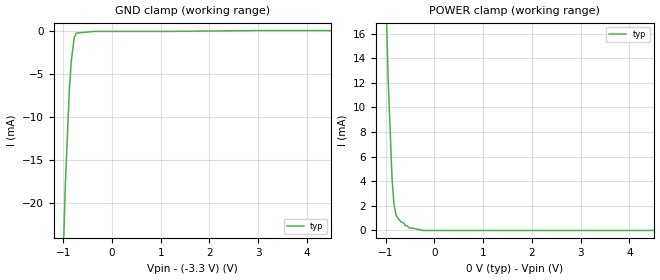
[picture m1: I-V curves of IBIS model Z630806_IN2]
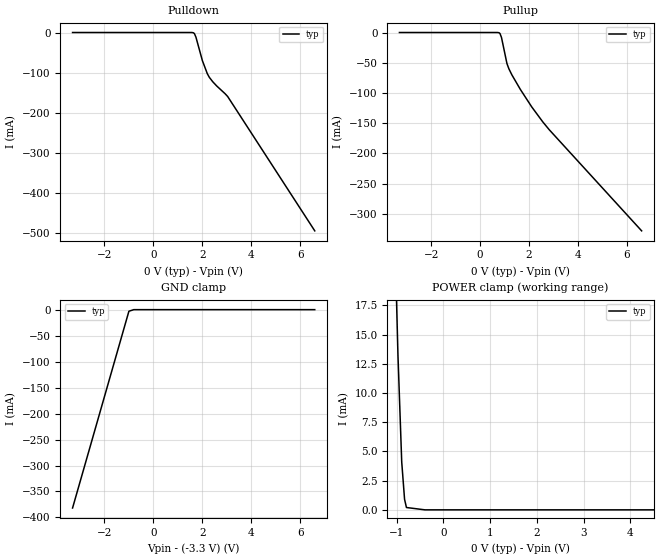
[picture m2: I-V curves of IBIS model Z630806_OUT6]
| YOU ARE ONLY AUTHORIZED TO USE THIS SOFTWARE
| ACCORDING TO LICENSOR'S LICENSE RESTRICTIONS.
[IBIS Ver] 3.1
[File Name] mc10ep05d_-33.ibs
[File Rev] 1
[Source] Derived from mc10ep16d_-33.ibs Measured
|   and created by ICX Technology
[Date] 9/25/2002
[Copyright]
| (C) COPYRIGHT 1993-2000
| MENTOR GRAPHICS CORPORATION
| ICX STANDARD LIBRARY, ICX PROJECT MODELING,
| ICX CUSTOM MODELING, ICX VENDOR MODEL
| ALL RIGHTS RESERVED.
| THE FOLLOWING ARE TRADEMARKS OR SERVICE MARKS OF
| MENTOR GRAPHICS CORPORATION:ICX (R), ICX STANDARD
| LIBRARY(R), ICX PROJECT MODELING(R), ICX CUSTOM
| MODELING(R), qualityIBIS(TM), MODELVIEWER(TM),
| AND MODELEDITOR(TM)
| ALL COPIES OF SOFTWARE, INCLUDING BUT NOT LIMITED TO
| ANY MODIFICATIONS, ENHANCEMENTS OR DERIVATIVE WORKS,
| MUST CONTAIN ALL MENTOR GRAPHICS CORPORATION'S
| NOTICES AND LEGENDS, INCLUDING THOSE EMBEDDED IN
| SOFTWARE AND THOSE AFFIXED TO SOFTWARE MEDIUM
| AND CONTAINER, AS RECEIVED FROM MENTOR GRAPHICS
| CORPORATION.
|  ZAP Model Builder 2.8
[Component] MC10EP05D_-33
[Manufacturer] ON
[Package]
| variable   typ   min   max
R_pkg  .152ohms NA NA
L_pkg  2.714nH NA NA
C_pkg  .364pF NA NA
[Pin] signal_name  model_name  R_pin  L_pin C_pin
1 D0 Z630806_IN2 .15 2.504n .354p
2 _D0 Z630806_IN2 .15 2.504n .354p
3 D1 Z630806_IN2 .15 2.504n .354p
4 _D1 Z630806_IN2 .15 2.504n .354p
5 VEE POWER .154 2.924n .374p
6 _Q Z630806_OUT6 .15 2.504n .354p
7 Q Z630806_OUT6 .15 2.504n .354p
8 VCC POWER .154 2.924n .374p
[Diff Pin] inv_pin vdiff tdelay_typ tdelay_min tdelay_max
1 2 150mv NA NA NA
3 4 150mv NA NA NA
7 6 NA .005ns NA .02ns
| Models and submodels in the file (2): Z630806_IN2 (Input_ECL), Z630806_OUT6 (Output_ECL)
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| (C) COPYRIGHT 1993-2000
| MENTOR GRAPHICS CORPORATION
| ICX STANDARD LIBRARY, ICX PROJECT MODELING,
| ICX CUSTOM MODELING, ICX VENDOR MODEL
| ALL RIGHTS RESERVED.
| THE FOLLOWING ARE TRADEMARKS OR SERVICE MARKS OF
| MENTOR GRAPHICS CORPORATION:ICX (R), ICX STANDARD
| LIBRARY(R), ICX PROJECT MODELING(R), ICX CUSTOM
| MODELING(R), qualityIBIS(TM), MODELVIEWER(TM),
| AND MODELEDITOR(TM)
| ALL COPIES OF SOFTWARE, INCLUDING BUT NOT LIMITED TO
| ANY MODIFICATIONS, ENHANCEMENTS OR DERIVATIVE WORKS,
| MUST CONTAIN ALL MENTOR GRAPHICS CORPORATION'S
| NOTICES AND LEGENDS, INCLUDING THOSE EMBEDDED IN
| SOFTWARE AND THOSE AFFIXED TO SOFTWARE MEDIUM
| AND CONTAINER, AS RECEIVED FROM MENTOR GRAPHICS
| CORPORATION.
| Model Application Version 1.89 2/18/99.
[Model] Z630806_IN2
Model_type Input_ECL
Vinl = -1.545V
Vinh = -1.145V
C_comp 2.000pF NA NA
| variable typ   min   max
[Voltage Range] -3.300V NA NA
[GND Clamp Reference] -3.300V NA NA
[POWER Clamp Reference] 0.000V NA NA
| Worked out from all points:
|   GND clamp passes 1 mA (typ) near -0.78 V on its own axis
|   POWER clamp passes 1 mA (typ) near -0.75 V on its own axis
[GND Clamp]
-3.3V     -562.8mA   NA         NA
-1.058V   -37mA      NA         NA
-957mV    -17.9mA    NA         NA
-876mV    -6.9mA     NA         NA
-835mV    -3.4mA     NA         NA
-774mV    -700uA     NA         NA
-734mV    -200uA     NA         NA
-367mV    0A         NA         NA
1.182V    0A         NA         NA
3.037V    100uA      NA         NA
6.6V      100uA      NA         NA
[POWER Clamp]
-3.3V     461.6mA    NA         NA
-1.054V   28.2mA     NA         NA
-953mV    12.5mA     NA         NA
-871mV    4.2mA      NA         NA
-831mV    2.1mA      NA         NA
-790mV    1.3mA      NA         NA
-770mV    1.1mA      NA         NA
-689mV    700uA      NA         NA
-628mV    600uA      NA         NA
-516.5mV  200uA      NA         NA
-233mV    0A         NA         NA
6.6V      0A         NA         NA
| (C) COPYRIGHT 1993-2000
| MENTOR GRAPHICS CORPORATION
| ICX STANDARD LIBRARY, ICX PROJECT MODELING,
| ICX CUSTOM MODELING, ICX VENDOR MODEL
| ALL RIGHTS RESERVED.
| THE FOLLOWING ARE TRADEMARKS OR SERVICE MARKS OF
| MENTOR GRAPHICS CORPORATION:ICX (R), ICX STANDARD
| LIBRARY(R), ICX PROJECT MODELING(R), ICX CUSTOM
| MODELING(R), qualityIBIS(TM), MODELVIEWER(TM),
| AND MODELEDITOR(TM)
| ALL COPIES OF SOFTWARE, INCLUDING BUT NOT LIMITED TO
| ANY MODIFICATIONS, ENHANCEMENTS OR DERIVATIVE WORKS,
| MUST CONTAIN ALL MENTOR GRAPHICS CORPORATION'S
| NOTICES AND LEGENDS, INCLUDING THOSE EMBEDDED IN
| SOFTWARE AND THOSE AFFIXED TO SOFTWARE MEDIUM
| AND CONTAINER, AS RECEIVED FROM MENTOR GRAPHICS
| CORPORATION.
| Model Application Version 1.89 2/18/99.
[Model] Z630806_OUT6
Model_type Output_ECL
Vref=-2.000V
Rref=50.00ohms
Cref=0.000F
Vmeas=-1.345V
C_comp 2.000pF NA NA
| variable typ   min   max
[Voltage Range] -3.300V NA NA
[POWER Clamp Reference] 0.000V NA NA
[Pullup Reference] 0.000V NA NA
[Pulldown Reference] 0.000V NA NA
[GND Clamp Reference] -3.300V NA NA
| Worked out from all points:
|   GND clamp passes 1 mA (typ) near -0.86 V on its own axis
|   POWER clamp passes 1 mA (typ) near -0.83 V on its own axis
[GND Clamp]
-3.3V     -381.8mA   NA         NA
-997mV    -3.038mA   NA         NA
-797.6mV  0A         NA         NA
6.6V      0A         NA         NA
[Pulldown]
-3.3V     0A         NA         NA
1.642V    -800uA     NA         NA
1.682V    -2.9mA     NA         NA
1.743V    -11.6mA    NA         NA
2.007V    -70.3mA    NA         NA
2.209V    -102.9mA   NA         NA
2.29V     -111.8mA   NA         NA
2.594V    -133.5mA   NA         NA
3.041V    -159.8mA   NA         NA
6.6V      -494.9mA   NA         NA
[Pullup]
-3.3V     0A         NA         NA
771mV     -400uA     NA         NA
811mV     -1.8mA     NA         NA
872mV     -8.3mA     NA         NA
1.095V    -51.5mA    NA         NA
1.175V    -60.2mA    NA         NA
1.297V    -70.2mA    NA         NA
1.642V    -94.2mA    NA         NA
2.108V    -123.2mA   NA         NA
2.817V    -160.7mA   NA         NA
6.6V      -328.4mA   NA         NA
[POWER Clamp]
-3.3V     446.4mA    NA         NA
-1.054V   25.7mA     NA         NA
-973mV    13.3mA     NA         NA
-892mV    4.1mA      NA         NA
-831mV    900uA      NA         NA
-791mV    200uA      NA         NA
-395.5mV  0A         NA         NA
6.6V      0A         NA         NA
[Ramp]
| variable typ min max
dV/dt_r 458.7m/96.44p NA NA
dV/dt_f 458.7m/92.65p NA NA
R_load = 50.00Ohms
